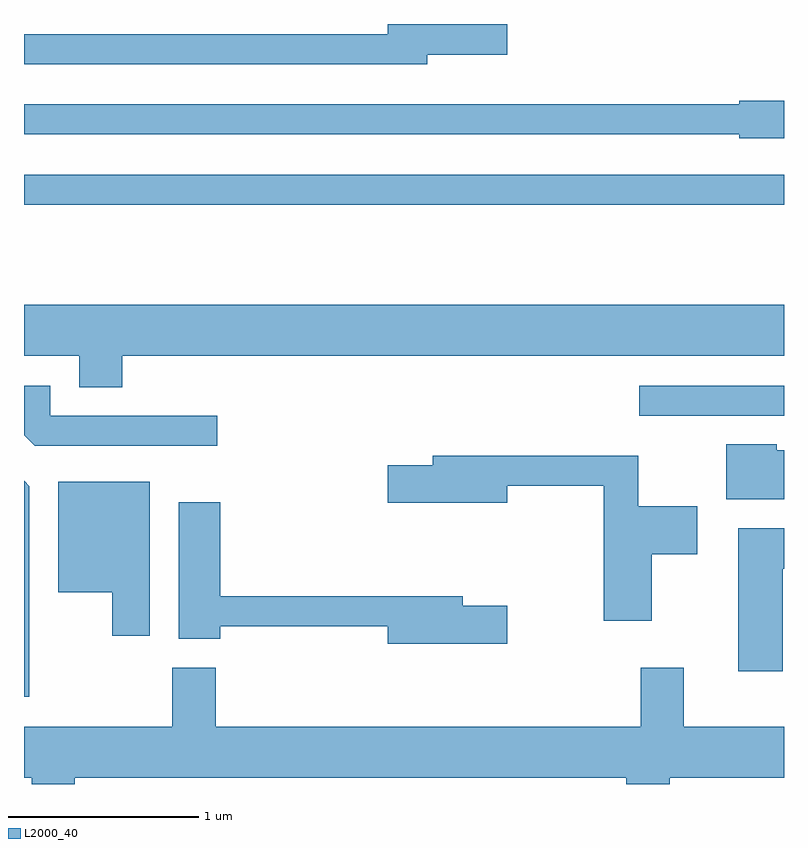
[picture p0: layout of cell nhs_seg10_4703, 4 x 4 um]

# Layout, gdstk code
import gdstk
lib = gdstk.Library(unit=1e-6, precision=1e-09)
def R(c, l, rs):  # rectangles x0, y0, x1, y1
    for r in rs: c.add(gdstk.rectangle(r[:2], r[2:], *l))
def P(c, l, *ps):  # polygons
    for p in ps: c.add(gdstk.Polygon(p, *l))
L2000_40 = (2000, 40)

nhs_seg10_4703 = lib.new_cell('nhs_seg10_4703')
R(nhs_seg10_4703, L2000_40, [(326.848,2142.461,327.611,2142.619), (323.611,2143.571,327.611,2143.729)])
P(nhs_seg10_4703, L2000_40, [(325.734,2144.361),(326.154,2144.361),(326.154,2144.522),(325.526,2144.522),(325.526,2144.469),(323.611,2144.469),(323.611,2144.311),(325.734,2144.311)],
  [(327.611,2144.119),(327.376,2144.119),(327.376,2144.099),(323.611,2144.099),(323.611,2143.941),(327.376,2143.941),(327.376,2143.921),(327.611,2143.921)],
  [(324.129,2142.776),(327.611,2142.776),(327.611,2143.044),(323.611,2143.044),(323.611,2142.776),(323.901,2142.776),(323.901,2142.611),(324.129,2142.611)],
  [(324.628,2142.459),(323.749,2142.459),(323.749,2142.619),(323.611,2142.619),(323.611,2142.357),(323.667,2142.301),(324.628,2142.301)],
  [(327.611,2142.279),(327.574,2142.279),(327.574,2142.309),(327.306,2142.309),(327.306,2142.021),(327.611,2142.021)],
  [(326.914,2141.731),(327.154,2141.731),(327.154,2141.984),(326.844,2141.984),(326.844,2142.249),(325.761,2142.249),(325.761,2142.199),(325.526,2142.199),(325.526,2142.001),(326.154,2142.001),(326.154,2142.091),(326.661,2142.091),(326.661,2141.381),(326.914,2141.381)],
  [(323.639,2142.089),(323.611,2142.117),(323.611,2140.981),(323.639,2140.981)],
  [(324.274,2142.114),(323.791,2142.114),(323.791,2141.531),(324.076,2141.531),(324.076,2141.301),(324.274,2141.301)],
  [(326.154,2141.459),(325.919,2141.459),(325.919,2141.509),(324.644,2141.509),(324.644,2142.004),(324.426,2142.004),(324.426,2141.286),(324.644,2141.286),(324.644,2141.351),(325.526,2141.351),(325.526,2141.261),(326.154,2141.261)],
  [(327.604,2141.656),(327.611,2141.656),(327.611,2141.869),(327.371,2141.869),(327.371,2141.116),(327.604,2141.116)],
  [(323.879,2140.556),(326.781,2140.556),(326.781,2140.522),(327.009,2140.522),(327.009,2140.556),(327.611,2140.556),(327.611,2140.824),(327.084,2140.824),(327.084,2141.134),(326.856,2141.134),(326.856,2140.824),(324.619,2140.824),(324.619,2141.134),(324.391,2141.134),(324.391,2140.824),(323.611,2140.824),(323.611,2140.556),(323.651,2140.556),(323.651,2140.522),(323.879,2140.522)])

lib.write_gds('nhs_seg10_4703.gds')
